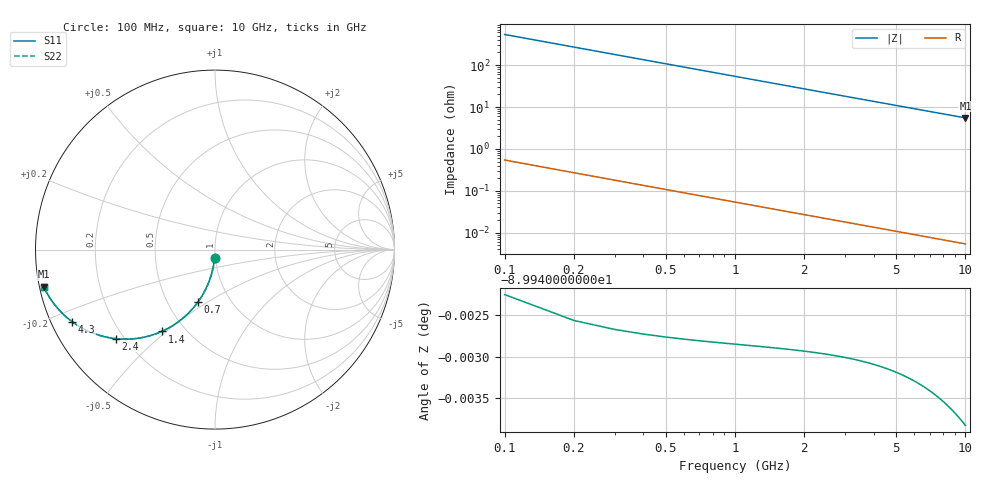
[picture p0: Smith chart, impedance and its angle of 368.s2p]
# Hz S RI R 50.00
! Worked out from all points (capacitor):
!   100 points, 100 MHz to 10 GHz, reference 50 ohm
!   read as one part in shunt: C = 2.96 pF near 100 MHz
!   lowest |Z| = 5.5 ohm at 10 GHz (marker M1)
!   S11 on the Smith chart (normalised r, x): 100 MHz: 0.99, -0.09; 700 MHz: 0.70, -0.46; 1.4 GHz: 0.37, -0.48; 2.4 GHz: 0.17, -0.37; 4.3 GHz: 0.06, -0.24; 10 GHz: 0.01, -0.11
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1e8  -0.0022 -0.0463  0.9978 -0.0464  0.9978 -0.0464  -0.0022 -0.0463
2e8  -0.00864 -0.092  0.9914 -0.0921  0.9914 -0.0921  -0.00864 -0.092
3e8  -0.0192 -0.1365  0.9808 -0.1367  0.9808 -0.1367  -0.0192 -0.1365
4e8  -0.0335 -0.1793  0.9665 -0.1795  0.9665 -0.1795  -0.0335 -0.1793
5e8  -0.0513 -0.22  0.9487 -0.2202  0.9487 -0.2202  -0.0513 -0.22
6e8  -0.0721 -0.2581  0.9278 -0.2584  0.9278 -0.2584  -0.0721 -0.2581
7e8  -0.0956 -0.2934  0.9044 -0.2937  0.9044 -0.2937  -0.0956 -0.2934
8e8  -0.1212 -0.3257  0.8788 -0.3261  0.8788 -0.3261  -0.1212 -0.3257
1e9  -0.1771 -0.381  0.8229 -0.3814  0.8229 -0.3814  -0.1771 -0.381
1.2e9  -0.2363 -0.4241  0.7637 -0.4245  0.7637 -0.4245  -0.2363 -0.4241
1.4e9  -0.296 -0.4557  0.704 -0.4563  0.704 -0.4563  -0.296 -0.4557
1.8e9  -0.4094 -0.4909  0.5906 -0.4916  0.5906 -0.4916  -0.4094 -0.4909
2.1e9  -0.485 -0.4988  0.515 -0.4997  0.515 -0.4997  -0.485 -0.4988
2.4e9  -0.5511 -0.4964  0.4489 -0.4974  0.4489 -0.4974  -0.5511 -0.4964
2.9e9  -0.6413 -0.4785  0.3587 -0.4797  0.3587 -0.4797  -0.6413 -0.4785
3.4e9  -0.7102 -0.4525  0.2898 -0.4538  0.2898 -0.4538  -0.7102 -0.4525
3.8e9  -0.7535 -0.4297  0.2465 -0.4313  0.2465 -0.4313  -0.7535 -0.4297
4.3e9  -0.7962 -0.4015  0.2038 -0.4032  0.2038 -0.4032  -0.7962 -0.4015
5.1e9  -0.8457 -0.3597  0.1543 -0.3618  0.1543 -0.3618  -0.8457 -0.3597
6.7e9  -0.9041 -0.2926  0.0959 -0.2953  0.0959 -0.2953  -0.9041 -0.2926
8.4e9  -0.9367 -0.2413  0.0633 -0.2448  0.0633 -0.2448  -0.9367 -0.2413
1e10  -0.9544 -0.206  0.0456 -0.2101  0.0456 -0.2101  -0.9544 -0.206
